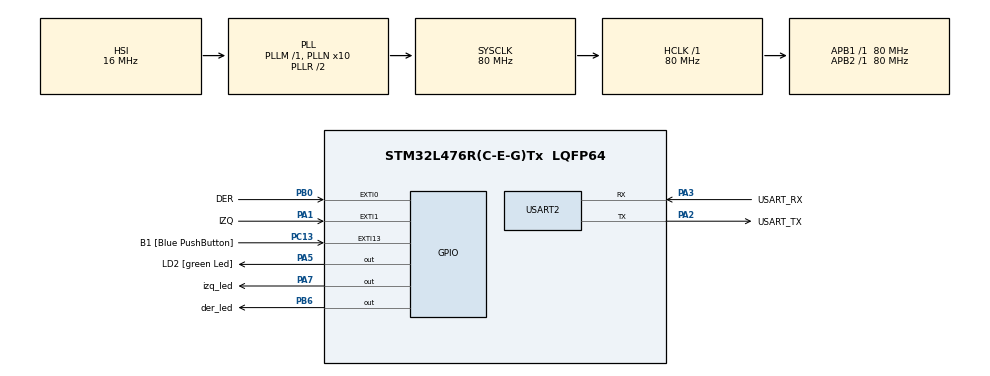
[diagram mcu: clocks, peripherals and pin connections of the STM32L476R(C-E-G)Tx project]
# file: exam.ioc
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Mcu.Family=STM32L4
Mcu.Name=STM32L476R(C-E-G)Tx
Mcu.Package=LQFP64
NVIC.EXTI0_IRQn=true\:0\:0\:false\:false\:true\:true\:true\:true
NVIC.EXTI15_10_IRQn=true\:0\:0\:false\:false\:true\:true\:true\:true
NVIC.EXTI1_IRQn=true\:0\:0\:false\:false\:true\:true\:true\:true
NVIC.PriorityGroup=NVIC_PRIORITYGROUP_4
PA1.GPIO_Label=IZQ
PA1.Signal=GPXTI1
PA13\ (JTMS-SWDIO).GPIO_Label=TMS
PA13\ (JTMS-SWDIO).Mode=Serial_Wire
PA13\ (JTMS-SWDIO).Signal=SYS_JTMS-SWDIO
PA14\ (JTCK-SWCLK).GPIO_Label=TCK
PA14\ (JTCK-SWCLK).Mode=Serial_Wire
PA14\ (JTCK-SWCLK).Signal=SYS_JTCK-SWCLK
PA2.GPIO_Label=USART_TX
PA2.GPIO_Mode=GPIO_MODE_AF_PP
PA2.GPIO_PuPd=GPIO_NOPULL
PA2.GPIO_Speed=GPIO_SPEED_FREQ_VERY_HIGH
PA2.Mode=Asynchronous
PA2.Signal=USART2_TX
PA3.GPIO_Label=USART_RX
PA3.GPIO_Mode=GPIO_MODE_AF_PP
PA3.GPIO_PuPd=GPIO_NOPULL
PA3.GPIO_Speed=GPIO_SPEED_FREQ_VERY_HIGH
PA3.Mode=Asynchronous
PA3.Signal=USART2_RX
PA5.GPIO_Label=LD2 [green Led]
PA5.GPIO_ModeDefaultOutputPP=GPIO_MODE_OUTPUT_PP
PA5.GPIO_PuPd=GPIO_NOPULL
PA5.GPIO_Speed=GPIO_SPEED_FREQ_LOW
PA5.Signal=GPIO_Output
PA7.GPIO_Label=izq_led
PA7.PinState=GPIO_PIN_SET
PA7.Signal=GPIO_Output
PB0.GPIO_Label=DER
PB0.Signal=GPXTI0
PB3\ (JTDO-TRACESWO).GPIO_Label=SWO
PB3\ (JTDO-TRACESWO).Signal=SYS_JTDO-SWO
PB6.GPIO_Label=der_led
PB6.Signal=GPIO_Output
PC13.GPIO_Label=B1 [Blue PushButton]
PC13.GPIO_ModeDefaultEXTI=GPIO_MODE_IT_FALLING
PC13.GPIO_PuPd=GPIO_NOPULL
PC13.Signal=GPXTI13
PC14-OSC32_IN\ (PC14).Mode=LSE-External-Oscillator
PC14-OSC32_IN\ (PC14).Signal=RCC_OSC32_IN
PC15-OSC32_OUT\ (PC15).Mode=LSE-External-Oscillator
PC15-OSC32_OUT\ (PC15).Signal=RCC_OSC32_OUT
PH0-OSC_IN\ (PH0).Signal=RCC_OSC_IN
PH1-OSC_OUT\ (PH1).Signal=RCC_OSC_OUT
ProjectManager.HeapSize=0x200
ProjectManager.StackSize=0x400
ProjectManager.TargetToolchain=STM32CubeIDE
RCC.ADCFreq_Value=64000000
RCC.AHBFreq_Value=80000000
RCC.APB1Freq_Value=80000000
RCC.APB1TimFreq_Value=80000000
RCC.APB2Freq_Value=80000000
RCC.APB2TimFreq_Value=80000000
RCC.CortexFreq_Value=80000000
RCC.HCLKFreq_Value=80000000
RCC.HSE_VALUE=8000000
RCC.HSI_VALUE=16000000
RCC.MSI_VALUE=4000000
RCC.PLLN=10
RCC.PLLSourceVirtual=RCC_PLLSOURCE_HSI
RCC.PREFETCH_ENABLE=1
RCC.SYSCLKFreq_VALUE=80000000
RCC.SYSCLKSource=RCC_SYSCLKSOURCE_PLLCLK
RCC.USBFreq_Value=64000000
RCC.VCOOutputFreq_Value=160000000
USART2.VirtualMode-Asynchronous=VM_ASYNC
board=NUCLEO-L476RG

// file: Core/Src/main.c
/* USER CODE BEGIN Header */
/**
  ******************************************************************************
  * @file           : main.c
  * @brief          : Main program body
  ******************************************************************************
  * @attention
  *
  * Copyright (c) 2024 STMicroelectronics.
  * All rights reserved.
  *
  * This software is licensed under terms that can be found in the LICENSE file
  * in the root directory of this software component.
  * If no LICENSE file comes with this software, it is provided AS-IS.
  *
  ******************************************************************************
  */
/* USER CODE END Header */
#include "main.h"

UART_HandleTypeDef huart2;

void SystemClock_Config(void);
static void MX_GPIO_Init(void);
static void MX_USART2_UART_Init(void);
/* USER CODE BEGIN PFP */
uint32_t izq = 0;//togles
uint32_t der = 0;
uint32_t izq_seg = 0;
uint32_t der_seg = 0;
/* USER CODE END PFP */

/* USER CODE BEGIN 0 */
void HAL_GPIO_EXTI_Callback(uint16_t GPIO_Pin)
{
	if(GPIO_Pin == IZQ_Pin){
		HAL_UART_Transmit(&huart2, "izq\r\n", 5, 10);
		izq = 6;
		der = 0;
	}
	if(GPIO_Pin == DER_Pin){
		HAL_UART_Transmit(&huart2, "der\r\n", 5, 10);
		izq = 0;
		der = 6;
	}
}

void izq_p(void)
{
	static uint32_t ult_Seg = 0;
	if(ult_Seg < HAL_GetTick()){
		if(izq > 0){
			ult_Seg = HAL_GetTick() + 500;
			HAL_GPIO_TogglePin(izq_led_GPIO_Port, izq_led_Pin);
			izq--;
		}
		else{
			HAL_GPIO_WritePin(izq_led_GPIO_Port, izq_led_Pin, 1);
		}
	}

}
void der_p(void)
{
	static uint32_t ult_Seg2 = 0;
	if(ult_Seg2 < HAL_GetTick()){
		if(der > 0){
			ult_Seg2 = HAL_GetTick() + 500;
			HAL_GPIO_TogglePin(der_led_GPIO_Port, der_led_Pin);
			der--;
		}
		else{
			HAL_GPIO_WritePin(der_led_GPIO_Port, der_led_Pin, 1);
		}
	}
}

/* USER CODE END 0 */

int main(void)
{

  /* MCU Configuration--------------------------------------------------------*/

  /* Reset of all peripherals, Initializes the Flash interface and the Systick. */
  HAL_Init();

  /* Configure the system clock */
  SystemClock_Config();

  /* Initialize all configured peripherals */
  MX_GPIO_Init();
  MX_USART2_UART_Init();

  /* Infinite loop */
  /* USER CODE BEGIN WHILE */
  while (1)
  {
	  izq_p();
	  der_p();
    /* USER CODE END WHILE */

  }
}

void SystemClock_Config(void)
{
  RCC_OscInitTypeDef RCC_OscInitStruct = {0};
  RCC_ClkInitTypeDef RCC_ClkInitStruct = {0};

  /** Configure the main internal regulator output voltage
  */
  if (HAL_PWREx_ControlVoltageScaling(PWR_REGULATOR_VOLTAGE_SCALE1) != HAL_OK)
  {
    Error_Handler();
  }

  /** Initializes the RCC Oscillators according to the specified parameters
  * in the RCC_OscInitTypeDef structure.
  */
  RCC_OscInitStruct.OscillatorType = RCC_OSCILLATORTYPE_HSI;
  RCC_OscInitStruct.HSIState = RCC_HSI_ON;
  RCC_OscInitStruct.HSICalibrationValue = RCC_HSICALIBRATION_DEFAULT;
  RCC_OscInitStruct.PLL.PLLState = RCC_PLL_ON;
  RCC_OscInitStruct.PLL.PLLSource = RCC_PLLSOURCE_HSI;
  RCC_OscInitStruct.PLL.PLLM = 1;
  RCC_OscInitStruct.PLL.PLLN = 10;
  RCC_OscInitStruct.PLL.PLLP = RCC_PLLP_DIV7;
  RCC_OscInitStruct.PLL.PLLQ = RCC_PLLQ_DIV2;
  RCC_OscInitStruct.PLL.PLLR = RCC_PLLR_DIV2;
  if (HAL_RCC_OscConfig(&RCC_OscInitStruct) != HAL_OK)
  {
    Error_Handler();
  }

  /** Initializes the CPU, AHB and APB buses clocks
  */
  RCC_ClkInitStruct.ClockType = RCC_CLOCKTYPE_HCLK|RCC_CLOCKTYPE_SYSCLK
                              |RCC_CLOCKTYPE_PCLK1|RCC_CLOCKTYPE_PCLK2;
  RCC_ClkInitStruct.SYSCLKSource = RCC_SYSCLKSOURCE_PLLCLK;
  RCC_ClkInitStruct.AHBCLKDivider = RCC_SYSCLK_DIV1;
  RCC_ClkInitStruct.APB1CLKDivider = RCC_HCLK_DIV1;
  RCC_ClkInitStruct.APB2CLKDivider = RCC_HCLK_DIV1;

  if (HAL_RCC_ClockConfig(&RCC_ClkInitStruct, FLASH_LATENCY_4) != HAL_OK)
  {
    Error_Handler();
  }
}

static void MX_USART2_UART_Init(void)
{

  huart2.Instance = USART2;
  huart2.Init.BaudRate = 115200;
  huart2.Init.WordLength = UART_WORDLENGTH_8B;
  huart2.Init.StopBits = UART_STOPBITS_1;
  huart2.Init.Parity = UART_PARITY_NONE;
  huart2.Init.Mode = UART_MODE_TX_RX;
  huart2.Init.HwFlowCtl = UART_HWCONTROL_NONE;
  huart2.Init.OverSampling = UART_OVERSAMPLING_16;
  huart2.Init.OneBitSampling = UART_ONE_BIT_SAMPLE_DISABLE;
  huart2.AdvancedInit.AdvFeatureInit = UART_ADVFEATURE_NO_INIT;
  if (HAL_UART_Init(&huart2) != HAL_OK)
  {
    Error_Handler();
  }

}

static void MX_GPIO_Init(void)
{
  GPIO_InitTypeDef GPIO_InitStruct = {0};

  /* GPIO Ports Clock Enable */
  __HAL_RCC_GPIOC_CLK_ENABLE();
  __HAL_RCC_GPIOH_CLK_ENABLE();
  __HAL_RCC_GPIOA_CLK_ENABLE();
  __HAL_RCC_GPIOB_CLK_ENABLE();

  /*Configure GPIO pin Output Level */
  HAL_GPIO_WritePin(LD2_GPIO_Port, LD2_Pin, GPIO_PIN_RESET);

  /*Configure GPIO pin Output Level */
  HAL_GPIO_WritePin(izq_led_GPIO_Port, izq_led_Pin, GPIO_PIN_SET);

  /*Configure GPIO pin Output Level */
  HAL_GPIO_WritePin(der_led_GPIO_Port, der_led_Pin, GPIO_PIN_RESET);

  /*Configure GPIO pin : B1_Pin */
  GPIO_InitStruct.Pin = B1_Pin;
  GPIO_InitStruct.Mode = GPIO_MODE_IT_FALLING;
  GPIO_InitStruct.Pull = GPIO_NOPULL;
  HAL_GPIO_Init(B1_GPIO_Port, &GPIO_InitStruct);

  /*Configure GPIO pin : IZQ_Pin */
  GPIO_InitStruct.Pin = IZQ_Pin;
  GPIO_InitStruct.Mode = GPIO_MODE_IT_RISING;
  GPIO_InitStruct.Pull = GPIO_NOPULL;
  HAL_GPIO_Init(IZQ_GPIO_Port, &GPIO_InitStruct);

  /*Configure GPIO pins : LD2_Pin izq_led_Pin */
  GPIO_InitStruct.Pin = LD2_Pin|izq_led_Pin;
  GPIO_InitStruct.Mode = GPIO_MODE_OUTPUT_PP;
  GPIO_InitStruct.Pull = GPIO_NOPULL;
  GPIO_InitStruct.Speed = GPIO_SPEED_FREQ_LOW;
  HAL_GPIO_Init(GPIOA, &GPIO_InitStruct);

  /*Configure GPIO pin : DER_Pin */
  GPIO_InitStruct.Pin = DER_Pin;
  GPIO_InitStruct.Mode = GPIO_MODE_IT_RISING;
  GPIO_InitStruct.Pull = GPIO_NOPULL;
  HAL_GPIO_Init(DER_GPIO_Port, &GPIO_InitStruct);

  /*Configure GPIO pin : der_led_Pin */
  GPIO_InitStruct.Pin = der_led_Pin;
  GPIO_InitStruct.Mode = GPIO_MODE_OUTPUT_PP;
  GPIO_InitStruct.Pull = GPIO_NOPULL;
  GPIO_InitStruct.Speed = GPIO_SPEED_FREQ_LOW;
  HAL_GPIO_Init(der_led_GPIO_Port, &GPIO_InitStruct);

  /* EXTI interrupt init*/
  HAL_NVIC_SetPriority(EXTI0_IRQn, 0, 0);
  HAL_NVIC_EnableIRQ(EXTI0_IRQn);

  HAL_NVIC_SetPriority(EXTI1_IRQn, 0, 0);
  HAL_NVIC_EnableIRQ(EXTI1_IRQn);

  HAL_NVIC_SetPriority(EXTI15_10_IRQn, 0, 0);
  HAL_NVIC_EnableIRQ(EXTI15_10_IRQn);

}

void Error_Handler(void)
{
  __disable_irq();
  while (1)
  {
  }
}
